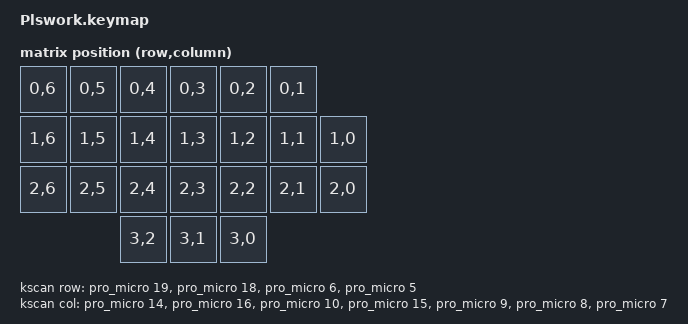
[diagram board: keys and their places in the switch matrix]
#include <dt-bindings/zmk/matrix_transform.h>

/ {
    chosen {
        zmk,kscan = &kscan;
        zmk,matrix_transform = &transform;
    };

    kscan: kscan {
        compatible = "zmk,kscan-gpio-matrix";
        label = "KSCAN";
        diode-direction = "col2row";

        row-gpios = <&pro_micro 19 (GPIO_ACTIVE_HIGH | GPIO_PULL_DOWN)>,
                    <&pro_micro 18 (GPIO_ACTIVE_HIGH | GPIO_PULL_DOWN)>,
                    <&pro_micro 6 (GPIO_ACTIVE_HIGH | GPIO_PULL_DOWN)>,
                    <&pro_micro 5 (GPIO_ACTIVE_HIGH | GPIO_PULL_DOWN)>;

        col-gpios = <&pro_micro 14 (GPIO_ACTIVE_HIGH)>,
                    <&pro_micro 16 (GPIO_ACTIVE_HIGH)>,
                    <&pro_micro 10 (GPIO_ACTIVE_HIGH)>,
                    <&pro_micro 15 (GPIO_ACTIVE_HIGH)>,
                    <&pro_micro 9 (GPIO_ACTIVE_HIGH)>,
                    <&pro_micro 8 (GPIO_ACTIVE_HIGH)>,
                    <&pro_micro 7 (GPIO_ACTIVE_HIGH)>;
    };

    transform: matrix_transform {
        compatible = "zmk,matrix-transform";
        rows = <4>;
        columns = <7>;

        // Mirror the right half's layout for the left side
        map = <
                RC(0, 6) RC(0, 5) RC(0, 4) RC(0, 3) RC(0, 2) RC(0, 1)
                RC(1, 6) RC(1, 5) RC(1, 4) RC(1, 3) RC(1, 2) RC(1, 1) RC(1, 0)
                RC(2, 6) RC(2, 5) RC(2, 4) RC(2, 3) RC(2, 2) RC(2, 1) RC(2, 0)
                                  RC(3, 2) RC(3, 1) RC(3, 0)
        >;
    };

    // Split keyboard configuration
    split {
        compatible = "zmk,split-peripheral";
        label = "split";
        communication = "uart";
        right = <1>;
    };
};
